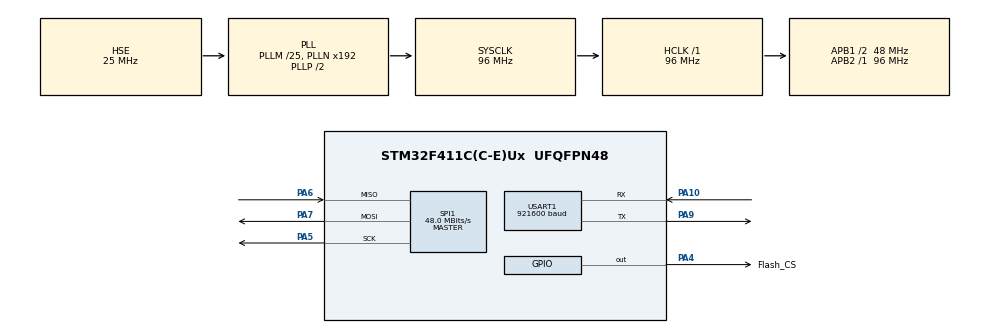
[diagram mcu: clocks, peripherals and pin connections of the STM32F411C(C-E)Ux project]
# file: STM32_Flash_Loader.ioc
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Mcu.Family=STM32F4
Mcu.Name=STM32F411C(C-E)Ux
Mcu.Package=UFQFPN48
NVIC.PriorityGroup=NVIC_PRIORITYGROUP_4
PA10.Mode=Asynchronous
PA10.Signal=USART1_RX
PA4.GPIO_Label=Flash_CS
PA4.GPIO_Speed=GPIO_SPEED_FREQ_HIGH
PA4.Signal=GPIO_Output
PA5.Mode=Full_Duplex_Master
PA5.Signal=SPI1_SCK
PA6.Mode=Full_Duplex_Master
PA6.Signal=SPI1_MISO
PA7.Mode=Full_Duplex_Master
PA7.Signal=SPI1_MOSI
PA9.Mode=Asynchronous
PA9.Signal=USART1_TX
PC14-OSC32_IN.Mode=LSE-External-Oscillator
PC14-OSC32_IN.Signal=RCC_OSC32_IN
PC15-OSC32_OUT.Mode=LSE-External-Oscillator
PC15-OSC32_OUT.Signal=RCC_OSC32_OUT
PH0\ -\ OSC_IN.Mode=HSE-External-Oscillator
PH0\ -\ OSC_IN.Signal=RCC_OSC_IN
PH1\ -\ OSC_OUT.Mode=HSE-External-Oscillator
PH1\ -\ OSC_OUT.Signal=RCC_OSC_OUT
ProjectManager.HeapSize=0x200
ProjectManager.StackSize=0x400
ProjectManager.TargetToolchain=STM32CubeIDE
RCC.48MHZClocksFreq_Value=48000000
RCC.AHBFreq_Value=96000000
RCC.APB1CLKDivider=RCC_HCLK_DIV2
RCC.APB1Freq_Value=48000000
RCC.APB1TimFreq_Value=96000000
RCC.APB2Freq_Value=96000000
RCC.APB2TimFreq_Value=96000000
RCC.CortexFreq_Value=96000000
RCC.HCLKFreq_Value=96000000
RCC.HSE_VALUE=25000000
RCC.HSI_VALUE=16000000
RCC.PLLM=25
RCC.PLLSourceVirtual=RCC_PLLSOURCE_HSE
RCC.SYSCLKFreq_VALUE=96000000
RCC.SYSCLKSource=RCC_SYSCLKSOURCE_PLLCLK
RCC.VCOOutputFreq_Value=192000000
SPI1.CalculateBaudRate=48.0 MBits/s
SPI1.Direction=SPI_DIRECTION_2LINES
SPI1.Mode=SPI_MODE_MASTER
SPI1.VirtualType=VM_MASTER
USART1.BaudRate=921600
USART1.VirtualMode=VM_ASYNC
board=custom

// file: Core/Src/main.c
/* USER CODE BEGIN Header */
/**
  ******************************************************************************
  * @file           : main.c
  * @brief          : Main program body
  ******************************************************************************
  * @attention
  *
  * Copyright (c) 2025 STMicroelectronics.
  * All rights reserved.
  *
  * This software is licensed under terms that can be found in the LICENSE file
  * in the root directory of this software component.
  * If no LICENSE file comes with this software, it is provided AS-IS.
  *
  ******************************************************************************
  */
/* USER CODE END Header */
#include "main.h"

/* USER CODE BEGIN Includes */
#include "flashSPI.h"
/* USER CODE END Includes */

SPI_HandleTypeDef hspi1;

UART_HandleTypeDef huart1;

void SystemClock_Config(void);
static void MX_GPIO_Init(void);
static void MX_SPI1_Init(void);
static void MX_USART1_UART_Init(void);

/* USER CODE BEGIN 0 */
#define CHUNK_SIZE 256
#define FLASH_SIZE 0x800000  // 8 MB

void Bootloader_Process(void) {
    uint8_t buffer[CHUNK_SIZE];
    uint32_t file_size = 0;
    uint32_t bytes_received = 0;

    // Recibir tamaño
    HAL_UART_Receive(&huart1, (uint8_t*)&file_size, 4, HAL_MAX_DELAY);
    if(file_size > FLASH_SIZE) return; // prevenir overflow

    while(bytes_received < file_size) {
        uint16_t to_read = (file_size - bytes_received > CHUNK_SIZE) ? CHUNK_SIZE : (file_size - bytes_received);
        HAL_UART_Receive(&huart1, buffer, to_read, HAL_MAX_DELAY);

        uint32_t sector_addr = (bytes_received / SPI_FLASH_SECTOR_SIZE) * SPI_FLASH_SECTOR_SIZE;
        if(bytes_received % SPI_FLASH_SECTOR_SIZE == 0)
            SPI_FLASH_EraseSector(sector_addr);

        SPI_FLASH_Write(bytes_received, buffer, to_read);
        bytes_received += to_read;

        uint8_t ack = 1;
        HAL_UART_Transmit(&huart1, &ack, 1, HAL_MAX_DELAY);
    }
}

/* USER CODE END 0 */

int main(void)
{

  /* MCU Configuration--------------------------------------------------------*/

  /* Reset of all peripherals, Initializes the Flash interface and the Systick. */
  HAL_Init();

  /* Configure the system clock */
  SystemClock_Config();

  /* Initialize all configured peripherals */
  MX_GPIO_Init();
  MX_SPI1_Init();
  MX_USART1_UART_Init();
  /* USER CODE BEGIN 2 */
  Bootloader_Process();
  /* USER CODE END 2 */

  /* Infinite loop */
  while (1)
  {

  }
}

void SystemClock_Config(void)
{
  RCC_OscInitTypeDef RCC_OscInitStruct = {0};
  RCC_ClkInitTypeDef RCC_ClkInitStruct = {0};

  /** Configure the main internal regulator output voltage
  */
  __HAL_RCC_PWR_CLK_ENABLE();
  __HAL_PWR_VOLTAGESCALING_CONFIG(PWR_REGULATOR_VOLTAGE_SCALE1);

  /** Initializes the RCC Oscillators according to the specified parameters
  * in the RCC_OscInitTypeDef structure.
  */
  RCC_OscInitStruct.OscillatorType = RCC_OSCILLATORTYPE_HSE;
  RCC_OscInitStruct.HSEState = RCC_HSE_ON;
  RCC_OscInitStruct.PLL.PLLState = RCC_PLL_ON;
  RCC_OscInitStruct.PLL.PLLSource = RCC_PLLSOURCE_HSE;
  RCC_OscInitStruct.PLL.PLLM = 25;
  RCC_OscInitStruct.PLL.PLLN = 192;
  RCC_OscInitStruct.PLL.PLLP = RCC_PLLP_DIV2;
  RCC_OscInitStruct.PLL.PLLQ = 4;
  if (HAL_RCC_OscConfig(&RCC_OscInitStruct) != HAL_OK)
  {
    Error_Handler();
  }

  /** Initializes the CPU, AHB and APB buses clocks
  */
  RCC_ClkInitStruct.ClockType = RCC_CLOCKTYPE_HCLK|RCC_CLOCKTYPE_SYSCLK
                              |RCC_CLOCKTYPE_PCLK1|RCC_CLOCKTYPE_PCLK2;
  RCC_ClkInitStruct.SYSCLKSource = RCC_SYSCLKSOURCE_PLLCLK;
  RCC_ClkInitStruct.AHBCLKDivider = RCC_SYSCLK_DIV1;
  RCC_ClkInitStruct.APB1CLKDivider = RCC_HCLK_DIV2;
  RCC_ClkInitStruct.APB2CLKDivider = RCC_HCLK_DIV1;

  if (HAL_RCC_ClockConfig(&RCC_ClkInitStruct, FLASH_LATENCY_3) != HAL_OK)
  {
    Error_Handler();
  }
}

static void MX_SPI1_Init(void)
{

  /* SPI1 parameter configuration*/
  hspi1.Instance = SPI1;
  hspi1.Init.Mode = SPI_MODE_MASTER;
  hspi1.Init.Direction = SPI_DIRECTION_2LINES;
  hspi1.Init.DataSize = SPI_DATASIZE_8BIT;
  hspi1.Init.CLKPolarity = SPI_POLARITY_LOW;
  hspi1.Init.CLKPhase = SPI_PHASE_1EDGE;
  hspi1.Init.NSS = SPI_NSS_SOFT;
  hspi1.Init.BaudRatePrescaler = SPI_BAUDRATEPRESCALER_2;
  hspi1.Init.FirstBit = SPI_FIRSTBIT_MSB;
  hspi1.Init.TIMode = SPI_TIMODE_DISABLE;
  hspi1.Init.CRCCalculation = SPI_CRCCALCULATION_DISABLE;
  hspi1.Init.CRCPolynomial = 10;
  if (HAL_SPI_Init(&hspi1) != HAL_OK)
  {
    Error_Handler();
  }

}

static void MX_USART1_UART_Init(void)
{

  huart1.Instance = USART1;
  huart1.Init.BaudRate = 921600;
  huart1.Init.WordLength = UART_WORDLENGTH_8B;
  huart1.Init.StopBits = UART_STOPBITS_1;
  huart1.Init.Parity = UART_PARITY_NONE;
  huart1.Init.Mode = UART_MODE_TX_RX;
  huart1.Init.HwFlowCtl = UART_HWCONTROL_NONE;
  huart1.Init.OverSampling = UART_OVERSAMPLING_16;
  if (HAL_UART_Init(&huart1) != HAL_OK)
  {
    Error_Handler();
  }

}

static void MX_GPIO_Init(void)
{
  GPIO_InitTypeDef GPIO_InitStruct = {0};

  /* GPIO Ports Clock Enable */
  __HAL_RCC_GPIOC_CLK_ENABLE();
  __HAL_RCC_GPIOH_CLK_ENABLE();
  __HAL_RCC_GPIOA_CLK_ENABLE();

  /*Configure GPIO pin Output Level */
  HAL_GPIO_WritePin(Flash_CS_GPIO_Port, Flash_CS_Pin, GPIO_PIN_RESET);

  /*Configure GPIO pin : Flash_CS_Pin */
  GPIO_InitStruct.Pin = Flash_CS_Pin;
  GPIO_InitStruct.Mode = GPIO_MODE_OUTPUT_PP;
  GPIO_InitStruct.Pull = GPIO_NOPULL;
  GPIO_InitStruct.Speed = GPIO_SPEED_FREQ_HIGH;
  HAL_GPIO_Init(Flash_CS_GPIO_Port, &GPIO_InitStruct);

}

void Error_Handler(void)
{
  __disable_irq();
  while (1)
  {
  }
}
